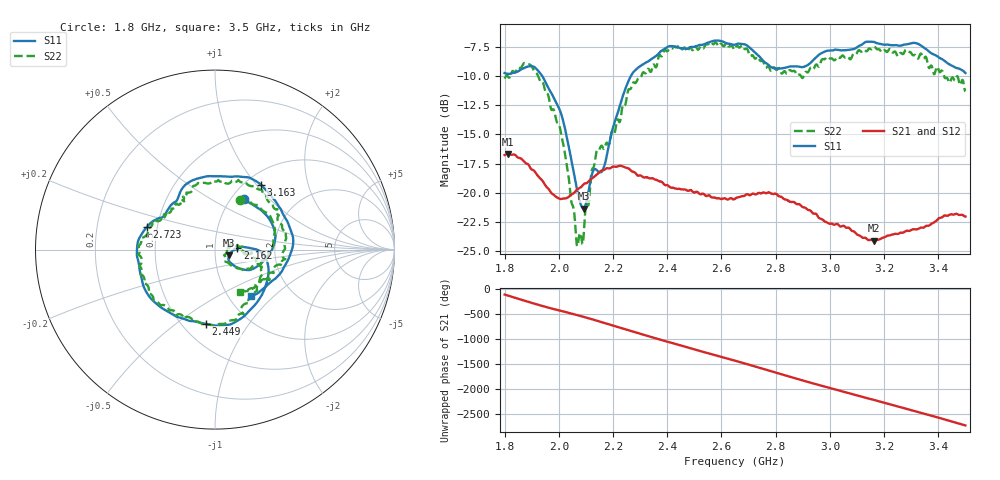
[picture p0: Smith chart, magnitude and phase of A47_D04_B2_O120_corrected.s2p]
! Created with skrf 1.9.0 (http://scikit-rf.org).
# Hz S RI R 50.0
!freq ReS11 ImS11 ReS21 ImS21 ReS12 ImS12 ReS22 ImS22
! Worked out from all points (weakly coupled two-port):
!   1601 points, 1.8 GHz to 3.5 GHz, reference 50 ohm
!   highest |S21| = -16.67 dB at 1.812 GHz (marker M1); lowest = -24.1 dB at 3.162 GHz (marker M2)
!   lowest |S11| = -21.4 dB at 2.091 GHz (marker M3), VSWR 1.19, Z = 58.5 - j3.68 ohm
!   |S11| at or under -10 dB: 1.939 GHz to 2.265 GHz (326.2 MHz wide, 15.5 % of centre)
!   |S22| runs from -24.6 to -7.1 dB; largest |S21 - S12| = 0.0023
!   S11 on the Smith chart (normalised r, x): 1.8 GHz: 1.14, +0.72; 2.162 GHz: 1.29, +0.02; 2.449 GHz: 0.65, -0.65; 2.723 GHz: 0.44, +0.13; 3.163 GHz: 1.18, +1.06; 3.5 GHz: 1.27, -0.73
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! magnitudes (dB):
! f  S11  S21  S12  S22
! 1.8 GHz  -9.7  -16.8  -16.8  -10.2
! 1.812 GHz  -9.8  -16.7  -16.7  -10.0
! 1.881 GHz  -9.2  -17.5  -17.5  -8.9
! 1.941 GHz  -10.1  -19.0  -19.0  -10.5
! 2.011 GHz  -13.4  -20.5  -20.5  -15.3
! 2.066 GHz  -19.6  -19.8  -19.8  -24.4
! 2.084 GHz  -21.2  -19.5  -19.4  -23.9
! 2.091 GHz  -21.4  -19.3  -19.3  -23.9
! 2.128 GHz  -18.1  -18.7  -18.7  -17.8
! 2.162 GHz  -18.0  -18.1  -18.0  -16.1
! 2.261 GHz  -10.2  -18.0  -18.0  -11.1
! 2.367 GHz  -8.1  -19.0  -18.9  -8.4
! 2.449 GHz  -7.6  -19.7  -19.7  -7.5
! 2.65 GHz  -7.3  -20.5  -20.5  -7.7
! 2.723 GHz  -8.0  -20.1  -20.1  -8.5
! 2.797 GHz  -9.3  -20.1  -20.1  -9.3
! 2.934 GHz  -8.7  -21.7  -21.6  -9.3
! 3.162 GHz  -7.1  -24.1  -24.0  -7.5
! 3.163 GHz  -7.1  -24.1  -24.1  -7.5
! 3.217 GHz  -7.3  -23.7  -23.6  -7.7
! 3.324 GHz  -7.2  -23.1  -23.1  -8.5
! 3.5 GHz  -9.7  -22.0  -22.0  -11.3
